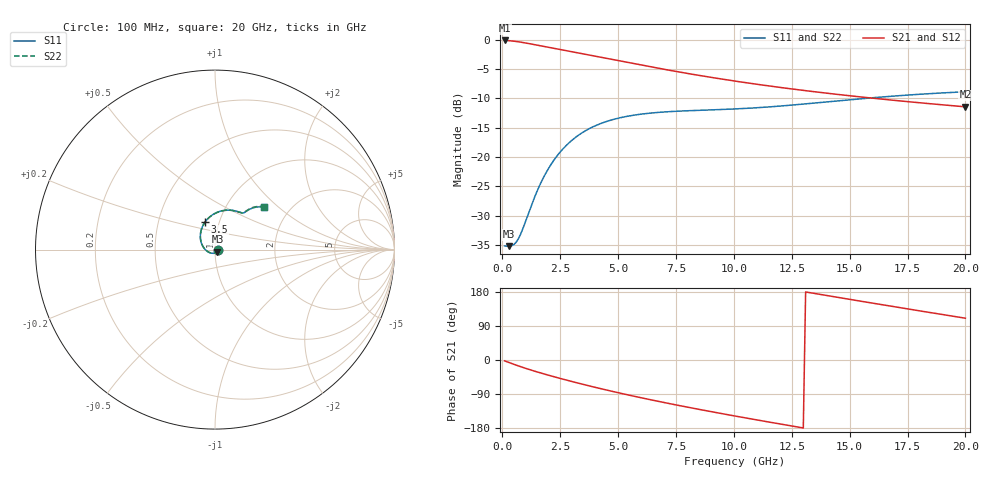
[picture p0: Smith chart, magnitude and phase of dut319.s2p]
! Touchstone file exported from HFSS 2024.1.0
!  File:  C:/UserFiles/LocalFiles/RDL_TSV_Batchsim/temp_RDL_TSV_319_1779629136.aedt
!  Generated:  09:39:14 PM May 24, 2026
!  Design:  RDL_TSV
!  Project:  temp_RDL_TSV_319_1779629136
!  Setup:  Setup1
!  Solution:  Sweep
! Variables:
!  dtsv = 14.59um
!  hbump = 3um
!  htsv = 88.03um
!  ldown = 255.37um
!  lrdl = 644.41um
!  p = 40
!  p1 = 46.69um
!  rhole = 10um
!  subl = 3343.75um
!  t = 450um
!  tdown = 2.65um
!  trdl = 3.61um
!  viad = 10um
!  wdown = 26.56um
!  wrdl = 19.19um
!  xbump = 18um
# GHz S MA R 50.000000
! Terminal data exported
! Port[1] = TM1_1_T1
! Port[2] = TM1_4_T1
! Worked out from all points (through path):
!   200 points, 100 MHz to 20 GHz, reference 50 ohm
!   highest |S21| = -0.16 dB at 100 MHz (marker M1); lowest = -11.5 dB at 20 GHz (marker M2)
!   group delay of S21, straight-line fit = 32.8 ps
!   lowest |S11| = -35.2 dB at 300 MHz (marker M3), VSWR 1.04, Z = 51.4 - j1.12 ohm
!   |S11| at or under -10 dB: start of sweep to 15.74 GHz
!   |S22| runs from -35.2 to -8.9 dB; largest |S21 - S12| = 1e-14
!   S11 on the Smith chart (normalised r, x): 100 MHz: 1.03, -0.01; 3.5 GHz: 0.86, +0.27; 20 GHz: 1.48, +0.80
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0.1  0.01744 -12.6  0.9819 -2.3  0.9819 -2.3  0.01744 -12.6
! Gamma 0 0 0 0
! Port Impedance 50 0 50 0
0.3  0.01738 -38.8  0.9772 -6.9  0.9772 -6.9  0.01738 -38.8
0.5  0.01794 -67.6  0.9684 -11.4  0.9684 -11.4  0.01795 -67.5
0.7  0.02019 -97.2  0.9564 -15.7  0.9564 -15.7  0.0202 -97.1
1.1  0.03185 -145.5  0.9274 -23.8  0.9274 -23.8  0.03183 -145.4
1.5  0.05097 -176.6  0.8962 -31.4  0.8962 -31.4  0.05091 -176.5
1.8  0.068 166.6  0.8732 -36.8  0.8732 -36.8  0.06789 166.7
2.1  0.08602 153.0  0.8509 -41.9  0.8509 -41.9  0.08587 153.1
2.7  0.1217 131.4  0.8081 -51.9  0.8081 -51.9  0.1215 131.5
3.5  0.163 110.1  0.7539 -64.5  0.7539 -64.5  0.1626 110.1
4.3  0.1942 94.2  0.7027 -76.4  0.7027 -76.4  0.1936 94.2
5.2  0.218 80.9  0.6493 -89.0  0.6493 -89.0  0.2172 80.9
6  0.2315 72.0  0.6057 -99.7  0.6057 -99.7  0.2306 72.1
6.8  0.2401 65.4  0.5662 -109.9  0.5662 -109.9  0.2391 65.5
8.4  0.2491 56.9  0.4986 -129.2  0.4986 -129.2  0.248 57.2
10.1  0.2566 52.8  0.4412 -148.4  0.4412 -148.4  0.2557 53.1
11.7  0.2683 51.2  0.398 -165.7  0.398 -165.7  0.2677 51.6
13.4  0.2868 50.0  0.3608 176.5  0.3608 176.5  0.2867 50.5
15.1  0.3082 48.3  0.3304 159.0  0.3304 159.0  0.3087 48.7
16.7  0.3276 46.1  0.3064 142.9  0.3064 142.9  0.3287 46.6
18.3  0.3445 43.7  0.286 127.0  0.286 127.0  0.346 44.1
20  0.3591 41.1  0.2672 110.3  0.2672 110.3  0.361 41.5
